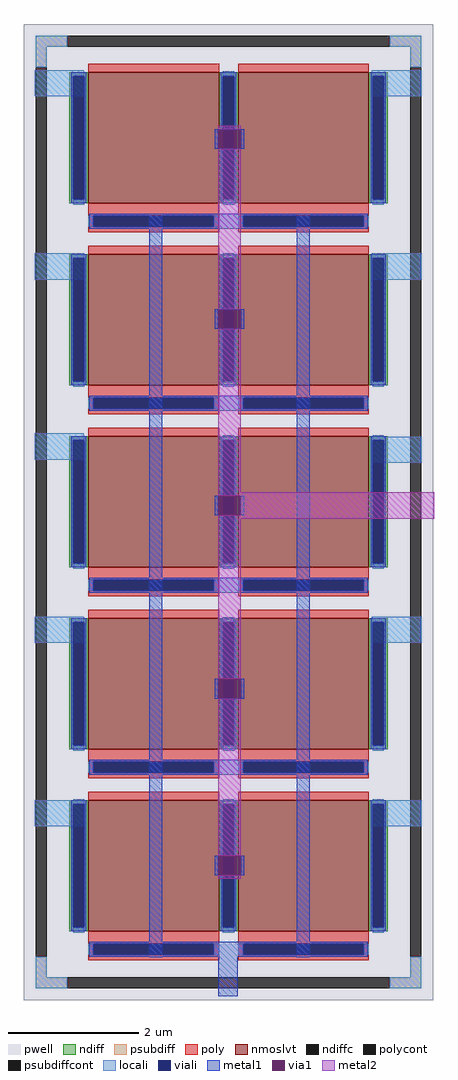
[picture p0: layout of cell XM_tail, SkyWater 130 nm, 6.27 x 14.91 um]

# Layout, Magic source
magic
tech sky130A
magscale 1 2
<< locali >>
rect -20 2710 130 2790
rect 1010 2710 1160 2790
rect -20 2150 130 2230
rect 1010 2150 1160 2230
rect -20 1600 130 1680
rect 1010 1590 1160 1670
rect -20 1040 130 1120
rect 1010 1040 1160 1120
rect -20 480 130 560
rect 1010 480 1160 560
<< metal1 >>
rect 530 2550 540 2610
rect 610 2550 620 2610
rect 330 80 370 2350
rect 537 2305 607 2351
rect 530 2000 540 2060
rect 610 2000 620 2060
rect 537 1749 607 1795
rect 530 1430 540 1490
rect 610 1430 620 1490
rect 537 1193 607 1239
rect 530 870 540 930
rect 610 870 620 930
rect 537 637 607 683
rect 530 330 540 390
rect 610 330 620 390
rect 537 81 607 127
rect 540 -40 600 81
rect 780 80 820 2350
<< via1 >>
rect 540 2550 610 2610
rect 540 2000 610 2060
rect 540 1430 610 1490
rect 540 870 610 930
rect 540 330 610 390
<< metal2 >>
rect 540 2610 610 2620
rect 540 2060 610 2550
rect 540 1500 610 2000
rect 540 1490 1200 1500
rect 610 1430 1200 1490
rect 540 1420 1200 1430
rect 540 930 610 1420
rect 540 390 610 870
rect 540 320 610 330
use sky130_fd_pr__nfet_01v8_lvt_7MFZYU  sky130_fd_pr__nfet_01v8_lvt_7MFZYU_0
transform 1 0 572 0 1 1440
box -625 -1491 625 1491
<< end >>

# cell sky130_fd_pr__nfet_01v8_lvt_7MFZYU: kit device sky130_fd_pr__nfet_01v8_lvt, w 2 l 2 m 5 nf 2 diffcov 100 polycov 100 guard 1 glc 1 grc 1 gtc 1 gbc 1 tbcov 100 rlcov 100 topc 0 botc 1 poverlap 0 doverlap 1 lmin 0.15 wmin 0.42 compatible {sky130_fd_pr__nfet_01v8 sky130_fd_pr__nfet_01v8_lvt sky130_fd_bs_flash__special_sonosfet_star sky130_fd_pr__nfet_g5v0d10v5 sky130_fd_pr__nfet_05v0_nvt sky130_fd_pr__nfet_03v3_nvt} full_metal 1 viasrc 100 viadrn 100 viagate 100 viagb 0 viagr 0 viagl 0 viagt 0
